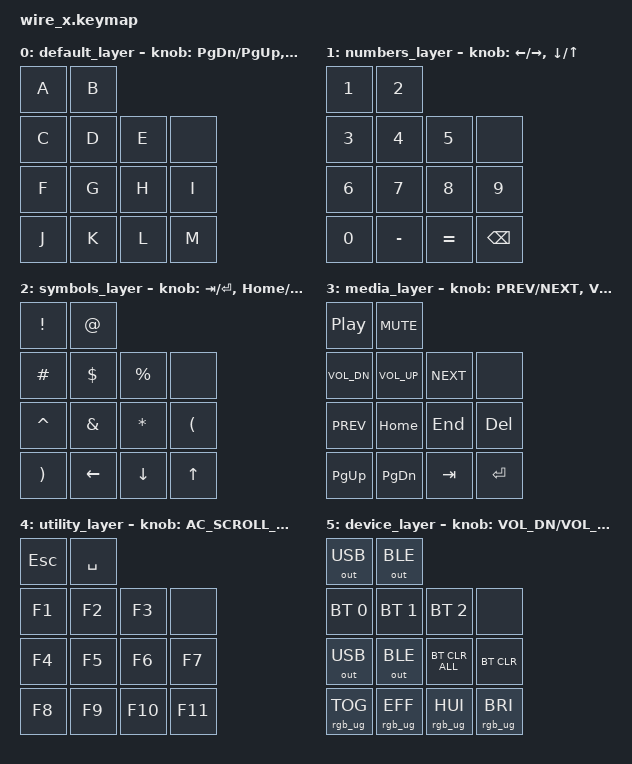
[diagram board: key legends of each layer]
#include <behaviors.dtsi>
#include <dt-bindings/zmk/bt.h>
#include <dt-bindings/zmk/keys.h>
#include <dt-bindings/zmk/outputs.h>
#include <dt-bindings/zmk/rgb.h>

/ {
    keymap {
        compatible = "zmk,keymap";

        default_layer {
            bindings = <
                &kp A            &kp B
                &kp C            &kp D            &kp E            &none
                &kp F            &kp G            &kp H            &kp I
                &kp J            &kp K            &kp L            &kp M
            >;

            sensor-bindings = <&inc_dec_kp PG_DN PG_UP &inc_dec_kp C_VOL_DN C_VOL_UP>;
        };

        numbers_layer {
            bindings = <
                &kp N1           &kp N2
                &kp N3           &kp N4           &kp N5           &none
                &kp N6           &kp N7           &kp N8           &kp N9
                &kp N0           &kp MINUS        &kp EQUAL        &kp BSPC
            >;

            sensor-bindings = <&inc_dec_kp LEFT RIGHT &inc_dec_kp DOWN UP>;
        };

        symbols_layer {
            bindings = <
                &kp EXCL         &kp AT
                &kp HASH         &kp DLLR         &kp PRCNT        &none
                &kp CARET        &kp AMPS         &kp ASTRK        &kp LPAR
                &kp RPAR         &kp LEFT         &kp DOWN         &kp UP
            >;

            sensor-bindings = <&inc_dec_kp TAB ENTER &inc_dec_kp HOME END>;
        };

        media_layer {
            bindings = <
                &kp C_PLAY_PAUSE &kp C_MUTE
                &kp C_VOL_DN     &kp C_VOL_UP     &kp C_NEXT       &none
                &kp C_PREV       &kp HOME         &kp END          &kp DEL
                &kp PG_UP        &kp PG_DN        &kp TAB          &kp ENTER
            >;

            sensor-bindings = <&inc_dec_kp C_PREV C_NEXT &inc_dec_kp C_VOL_DN C_VOL_UP>;
        };

        utility_layer {
            bindings = <
                &kp ESC          &kp SPACE
                &kp F1           &kp F2           &kp F3           &none
                &kp F4           &kp F5           &kp F6           &kp F7
                &kp F8           &kp F9           &kp F10          &kp F11
            >;

            sensor-bindings = <&inc_dec_kp C_AC_SCROLL_DOWN C_AC_SCROLL_UP &inc_dec_kp C_AC_ZOOM_OUT C_AC_ZOOM_IN>;
        };

        device_layer {
            bindings = <
                &out OUT_USB     &out OUT_BLE
                &bt BT_SEL 0     &bt BT_SEL 1     &bt BT_SEL 2     &none
                &out OUT_USB     &out OUT_BLE     &bt BT_CLR_ALL   &bt BT_CLR
                &rgb_ug RGB_TOG  &rgb_ug RGB_EFF  &rgb_ug RGB_HUI  &rgb_ug RGB_BRI
            >;

            sensor-bindings = <&inc_dec_kp C_VOL_DN C_VOL_UP &inc_dec_kp C_BRI_DN C_BRI_UP>;
        };

    };
};
